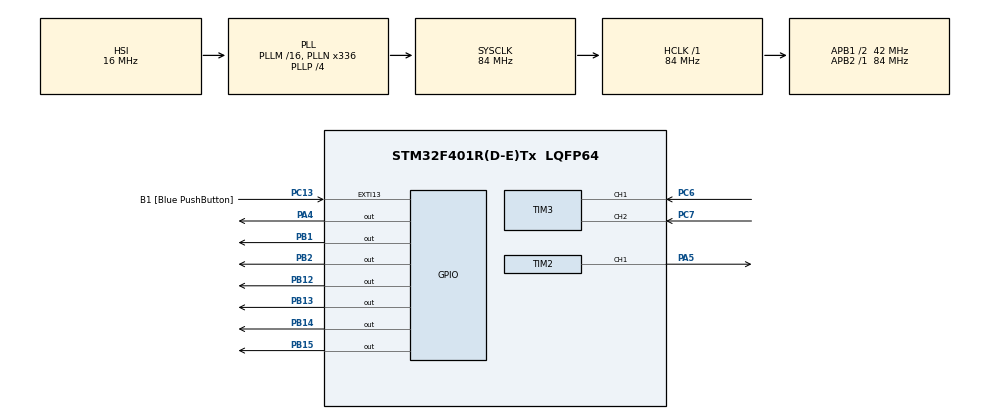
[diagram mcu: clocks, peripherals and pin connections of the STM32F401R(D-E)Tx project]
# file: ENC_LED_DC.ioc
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Mcu.Family=STM32F4
Mcu.Name=STM32F401R(D-E)Tx
Mcu.Package=LQFP64
NVIC.PriorityGroup=NVIC_PRIORITYGROUP_4
NVIC.TIM4_IRQn=true\:0\:0\:false\:false\:true\:true\:true\:true
PA13.GPIO_Label=TMS
PA13.Mode=Trace_Asynchronous_SW
PA13.Signal=SYS_JTMS-SWDIO
PA14.GPIO_Label=TCK
PA14.Mode=Trace_Asynchronous_SW
PA14.Signal=SYS_JTCK-SWCLK
PA4.Signal=GPIO_Output
PA5.Signal=S_TIM2_CH1_ETR
PB1.Signal=GPIO_Output
PB12.Signal=GPIO_Output
PB13.Signal=GPIO_Output
PB14.Signal=GPIO_Output
PB15.Signal=GPIO_Output
PB2.Signal=GPIO_Output
PB3.GPIO_Label=SWO
PB3.Mode=Trace_Asynchronous_SW
PB3.Signal=SYS_JTDO-SWO
PC13-ANTI_TAMP.GPIO_Label=B1 [Blue PushButton]
PC13-ANTI_TAMP.GPIO_ModeDefaultEXTI=GPIO_MODE_IT_FALLING
PC13-ANTI_TAMP.GPIO_PuPd=GPIO_NOPULL
PC13-ANTI_TAMP.Signal=GPXTI13
PC14-OSC32_IN.Mode=LSE-External-Oscillator
PC14-OSC32_IN.Signal=RCC_OSC32_IN
PC15-OSC32_OUT.Mode=LSE-External-Oscillator
PC15-OSC32_OUT.Signal=RCC_OSC32_OUT
PC6.Signal=S_TIM3_CH1
PC7.Signal=S_TIM3_CH2
PH0\ -\ OSC_IN.Mode=HSE-External-Clock-Source
PH0\ -\ OSC_IN.Signal=RCC_OSC_IN
PH1\ -\ OSC_OUT.Mode=HSE-External-Clock-Source
PH1\ -\ OSC_OUT.Signal=RCC_OSC_OUT
ProjectManager.HeapSize=0x200
ProjectManager.StackSize=0x400
ProjectManager.TargetToolchain=STM32CubeIDE
RCC.48MHZClocksFreq_Value=48000000
RCC.AHBFreq_Value=84000000
RCC.APB1CLKDivider=RCC_HCLK_DIV2
RCC.APB1Freq_Value=42000000
RCC.APB1TimFreq_Value=84000000
RCC.APB2Freq_Value=84000000
RCC.APB2TimFreq_Value=84000000
RCC.CortexFreq_Value=84000000
RCC.HCLKFreq_Value=84000000
RCC.HSE_VALUE=8000000
RCC.HSI_VALUE=16000000
RCC.PLLN=336
RCC.PLLP=RCC_PLLP_DIV4
RCC.PLLQ=7
RCC.SYSCLKFreq_VALUE=84000000
RCC.SYSCLKSource=RCC_SYSCLKSOURCE_PLLCLK
RCC.VCOOutputFreq_Value=336000000
SH.S_TIM2_CH1_ETR.0=TIM2_CH1,PWM Generation1 CH1
SH.S_TIM3_CH1.0=TIM3_CH1,Encoder_Interface
SH.S_TIM3_CH2.0=TIM3_CH2,Encoder_Interface
TIM2.AutoReloadPreload=TIM_AUTORELOAD_PRELOAD_ENABLE
TIM2.Channel-PWM\ Generation1\ CH1=TIM_CHANNEL_1
TIM2.Period=839
TIM2.Prescaler=99
TIM2.Pulse-PWM\ Generation1\ CH1=249
TIM3.ClockDivision=TIM_CLOCKDIVISION_DIV4
TIM3.IC1Filter=15
TIM3.IC1Polarity=TIM_ICPOLARITY_FALLING
TIM4.Period=8399
TIM4.Prescaler=9999
VP_TIM2_VS_ClockSourceINT.Mode=Internal
VP_TIM4_VS_ClockSourceINT.Mode=Internal
board=NUCLEO-F401RE

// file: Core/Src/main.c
/* USER CODE BEGIN Header */
/**
  ******************************************************************************
  * @file           : main.c
  * @brief          : Main program body
  ******************************************************************************
  * @attention
  *
  * Copyright (c) 2026 STMicroelectronics.
  * All rights reserved.
  *
  * This software is licensed under terms that can be found in the LICENSE file
  * in the root directory of this software component.
  * If no LICENSE file comes with this software, it is provided AS-IS.
  *
  ******************************************************************************
  */
/* USER CODE END Header */
#include "main.h"

/* USER CODE BEGIN Includes */
#include "PMDB16_LCD.h"
#include "stdio.h"
#include "string.h"

/* USER CODE END Includes */

/* USER CODE BEGIN PD */
#define STEPS_PER_REVOLUTION 24

// Timer Led
#define ARR 840
/* USER CODE END PD */

TIM_HandleTypeDef htim2;
TIM_HandleTypeDef htim3;
TIM_HandleTypeDef htim4;

/* USER CODE BEGIN PV */

// LCD
char line1[17];
char line2[17];

float DC=0.0f;

volatile uint8_t first_time=1;

// ENCODER
float rpm;
static uint16_t value;
static uint16_t past_value=0;
static int32_t position=0;

volatile uint8_t data_ready=0;

/* USER CODE END PV */

void SystemClock_Config(void);
static void MX_GPIO_Init(void);
static void MX_TIM2_Init(void);
static void MX_TIM3_Init(void);
static void MX_TIM4_Init(void);

/* USER CODE BEGIN 0 */
void HAL_TIM_PeriodElapsedCallback(TIM_HandleTypeDef *htim)
{
    if (htim->Instance == TIM4)
    {
    	value = __HAL_TIM_GET_COUNTER(&htim3); // Leggiamo il valore del Counter

    	int16_t delta = (int16_t) (value-past_value); // Calcoliamo di quanto ci siamo spostati

    	position+=delta; // La posizione accumula gli step

    	past_value=value; // Aggiorniamo

    	// Pronti a trasmettere
    	if(delta!=0 || first_time){
    		first_time=0;
    		data_ready=1;

        	// Led
        	if(position<=0){
        		// Negativo -> DC=0%
        		DC=0.00f;
        	}else{
        		// Ogni step sono 2 impulsi
        		// quando position = 40 -> DC=40*0.05/2 = 1.0
        		if(position>40){
        			DC=1.0f;
        		}else{
        			DC=(float)(position*0.05f/2.0f); // Ogni step +0.05 (5%)
        		}
        	}

        	int pulse = (int)(ARR*DC);

        	__HAL_TIM_SET_COMPARE(&htim2, TIM_CHANNEL_1, pulse);
    	}
    }
}

/* USER CODE END 0 */

int main(void)
{

  /* MCU Configuration--------------------------------------------------------*/

  /* Reset of all peripherals, Initializes the Flash interface and the Systick. */
  HAL_Init();

  /* Configure the system clock */
  SystemClock_Config();

  /* Initialize all configured peripherals */
  MX_GPIO_Init();
  MX_TIM2_Init();
  MX_TIM3_Init();
  MX_TIM4_Init();
  /* USER CODE BEGIN 2 */
  HAL_TIM_Encoder_Start(&htim3, TIM_CHANNEL_ALL); // Inizializza Encoder
  HAL_TIM_Base_Start_IT(&htim4); // Interrupt 1Hz

  HAL_TIM_PWM_Start(&htim2, TIM_CHANNEL_1); // Led

  lcd_initialize(); // LCD
  lcd_backlight_ON();

  /* USER CODE END 2 */

  /* Infinite loop */
  while (1)
  {

    /* USER CODE BEGIN 3 */
	  if(data_ready){
		  data_ready=0;

		  //LCD
		  sprintf(line1, "Pos: %1d", position);
		  sprintf(line2, "DC: %.2f", DC);

		  lcd_clear();
		  lcd_println(line1, 0);
		  lcd_println(line2, 1);

	  }
  }
  /* USER CODE END 3 */
}

void SystemClock_Config(void)
{
  RCC_OscInitTypeDef RCC_OscInitStruct = {0};
  RCC_ClkInitTypeDef RCC_ClkInitStruct = {0};

  /** Configure the main internal regulator output voltage
  */
  __HAL_RCC_PWR_CLK_ENABLE();
  __HAL_PWR_VOLTAGESCALING_CONFIG(PWR_REGULATOR_VOLTAGE_SCALE2);

  /** Initializes the RCC Oscillators according to the specified parameters
  * in the RCC_OscInitTypeDef structure.
  */
  RCC_OscInitStruct.OscillatorType = RCC_OSCILLATORTYPE_HSI;
  RCC_OscInitStruct.HSIState = RCC_HSI_ON;
  RCC_OscInitStruct.HSICalibrationValue = RCC_HSICALIBRATION_DEFAULT;
  RCC_OscInitStruct.PLL.PLLState = RCC_PLL_ON;
  RCC_OscInitStruct.PLL.PLLSource = RCC_PLLSOURCE_HSI;
  RCC_OscInitStruct.PLL.PLLM = 16;
  RCC_OscInitStruct.PLL.PLLN = 336;
  RCC_OscInitStruct.PLL.PLLP = RCC_PLLP_DIV4;
  RCC_OscInitStruct.PLL.PLLQ = 7;
  if (HAL_RCC_OscConfig(&RCC_OscInitStruct) != HAL_OK)
  {
    Error_Handler();
  }

  /** Initializes the CPU, AHB and APB buses clocks
  */
  RCC_ClkInitStruct.ClockType = RCC_CLOCKTYPE_HCLK|RCC_CLOCKTYPE_SYSCLK
                              |RCC_CLOCKTYPE_PCLK1|RCC_CLOCKTYPE_PCLK2;
  RCC_ClkInitStruct.SYSCLKSource = RCC_SYSCLKSOURCE_PLLCLK;
  RCC_ClkInitStruct.AHBCLKDivider = RCC_SYSCLK_DIV1;
  RCC_ClkInitStruct.APB1CLKDivider = RCC_HCLK_DIV2;
  RCC_ClkInitStruct.APB2CLKDivider = RCC_HCLK_DIV1;

  if (HAL_RCC_ClockConfig(&RCC_ClkInitStruct, FLASH_LATENCY_2) != HAL_OK)
  {
    Error_Handler();
  }
}

static void MX_TIM2_Init(void)
{

  TIM_ClockConfigTypeDef sClockSourceConfig = {0};
  TIM_MasterConfigTypeDef sMasterConfig = {0};
  TIM_OC_InitTypeDef sConfigOC = {0};

  htim2.Instance = TIM2;
  htim2.Init.Prescaler = 99;
  htim2.Init.CounterMode = TIM_COUNTERMODE_UP;
  htim2.Init.Period = 839;
  htim2.Init.ClockDivision = TIM_CLOCKDIVISION_DIV1;
  htim2.Init.AutoReloadPreload = TIM_AUTORELOAD_PRELOAD_ENABLE;
  if (HAL_TIM_Base_Init(&htim2) != HAL_OK)
  {
    Error_Handler();
  }
  sClockSourceConfig.ClockSource = TIM_CLOCKSOURCE_INTERNAL;
  if (HAL_TIM_ConfigClockSource(&htim2, &sClockSourceConfig) != HAL_OK)
  {
    Error_Handler();
  }
  if (HAL_TIM_PWM_Init(&htim2) != HAL_OK)
  {
    Error_Handler();
  }
  sMasterConfig.MasterOutputTrigger = TIM_TRGO_RESET;
  sMasterConfig.MasterSlaveMode = TIM_MASTERSLAVEMODE_DISABLE;
  if (HAL_TIMEx_MasterConfigSynchronization(&htim2, &sMasterConfig) != HAL_OK)
  {
    Error_Handler();
  }
  sConfigOC.OCMode = TIM_OCMODE_PWM1;
  sConfigOC.Pulse = 249;
  sConfigOC.OCPolarity = TIM_OCPOLARITY_HIGH;
  sConfigOC.OCFastMode = TIM_OCFAST_DISABLE;
  if (HAL_TIM_PWM_ConfigChannel(&htim2, &sConfigOC, TIM_CHANNEL_1) != HAL_OK)
  {
    Error_Handler();
  }
  HAL_TIM_MspPostInit(&htim2);

}

static void MX_TIM3_Init(void)
{

  TIM_Encoder_InitTypeDef sConfig = {0};
  TIM_MasterConfigTypeDef sMasterConfig = {0};

  htim3.Instance = TIM3;
  htim3.Init.Prescaler = 0;
  htim3.Init.CounterMode = TIM_COUNTERMODE_UP;
  htim3.Init.Period = 65535;
  htim3.Init.ClockDivision = TIM_CLOCKDIVISION_DIV4;
  htim3.Init.AutoReloadPreload = TIM_AUTORELOAD_PRELOAD_DISABLE;
  sConfig.EncoderMode = TIM_ENCODERMODE_TI1;
  sConfig.IC1Polarity = TIM_ICPOLARITY_FALLING;
  sConfig.IC1Selection = TIM_ICSELECTION_DIRECTTI;
  sConfig.IC1Prescaler = TIM_ICPSC_DIV1;
  sConfig.IC1Filter = 15;
  sConfig.IC2Polarity = TIM_ICPOLARITY_RISING;
  sConfig.IC2Selection = TIM_ICSELECTION_DIRECTTI;
  sConfig.IC2Prescaler = TIM_ICPSC_DIV1;
  sConfig.IC2Filter = 0;
  if (HAL_TIM_Encoder_Init(&htim3, &sConfig) != HAL_OK)
  {
    Error_Handler();
  }
  sMasterConfig.MasterOutputTrigger = TIM_TRGO_RESET;
  sMasterConfig.MasterSlaveMode = TIM_MASTERSLAVEMODE_DISABLE;
  if (HAL_TIMEx_MasterConfigSynchronization(&htim3, &sMasterConfig) != HAL_OK)
  {
    Error_Handler();
  }

}

static void MX_TIM4_Init(void)
{

  TIM_ClockConfigTypeDef sClockSourceConfig = {0};
  TIM_MasterConfigTypeDef sMasterConfig = {0};

  htim4.Instance = TIM4;
  htim4.Init.Prescaler = 9999;
  htim4.Init.CounterMode = TIM_COUNTERMODE_UP;
  htim4.Init.Period = 8399;
  htim4.Init.ClockDivision = TIM_CLOCKDIVISION_DIV1;
  htim4.Init.AutoReloadPreload = TIM_AUTORELOAD_PRELOAD_DISABLE;
  if (HAL_TIM_Base_Init(&htim4) != HAL_OK)
  {
    Error_Handler();
  }
  sClockSourceConfig.ClockSource = TIM_CLOCKSOURCE_INTERNAL;
  if (HAL_TIM_ConfigClockSource(&htim4, &sClockSourceConfig) != HAL_OK)
  {
    Error_Handler();
  }
  sMasterConfig.MasterOutputTrigger = TIM_TRGO_RESET;
  sMasterConfig.MasterSlaveMode = TIM_MASTERSLAVEMODE_DISABLE;
  if (HAL_TIMEx_MasterConfigSynchronization(&htim4, &sMasterConfig) != HAL_OK)
  {
    Error_Handler();
  }

}

static void MX_GPIO_Init(void)
{
  GPIO_InitTypeDef GPIO_InitStruct = {0};

  /* GPIO Ports Clock Enable */
  __HAL_RCC_GPIOC_CLK_ENABLE();
  __HAL_RCC_GPIOH_CLK_ENABLE();
  __HAL_RCC_GPIOA_CLK_ENABLE();
  __HAL_RCC_GPIOB_CLK_ENABLE();

  /*Configure GPIO pin Output Level */
  HAL_GPIO_WritePin(GPIOA, GPIO_PIN_4, GPIO_PIN_RESET);

  /*Configure GPIO pin Output Level */
  HAL_GPIO_WritePin(GPIOB, GPIO_PIN_1|GPIO_PIN_2|GPIO_PIN_12|GPIO_PIN_13
                          |GPIO_PIN_14|GPIO_PIN_15, GPIO_PIN_RESET);

  /*Configure GPIO pin : B1_Pin */
  GPIO_InitStruct.Pin = B1_Pin;
  GPIO_InitStruct.Mode = GPIO_MODE_IT_FALLING;
  GPIO_InitStruct.Pull = GPIO_NOPULL;
  HAL_GPIO_Init(B1_GPIO_Port, &GPIO_InitStruct);

  /*Configure GPIO pin : PA4 */
  GPIO_InitStruct.Pin = GPIO_PIN_4;
  GPIO_InitStruct.Mode = GPIO_MODE_OUTPUT_PP;
  GPIO_InitStruct.Pull = GPIO_NOPULL;
  GPIO_InitStruct.Speed = GPIO_SPEED_FREQ_LOW;
  HAL_GPIO_Init(GPIOA, &GPIO_InitStruct);

  /*Configure GPIO pins : PB1 PB2 PB12 PB13
                           PB14 PB15 */
  GPIO_InitStruct.Pin = GPIO_PIN_1|GPIO_PIN_2|GPIO_PIN_12|GPIO_PIN_13
                          |GPIO_PIN_14|GPIO_PIN_15;
  GPIO_InitStruct.Mode = GPIO_MODE_OUTPUT_PP;
  GPIO_InitStruct.Pull = GPIO_NOPULL;
  GPIO_InitStruct.Speed = GPIO_SPEED_FREQ_LOW;
  HAL_GPIO_Init(GPIOB, &GPIO_InitStruct);

}

void Error_Handler(void)
{
  __disable_irq();
  while (1)
  {
  }
}
